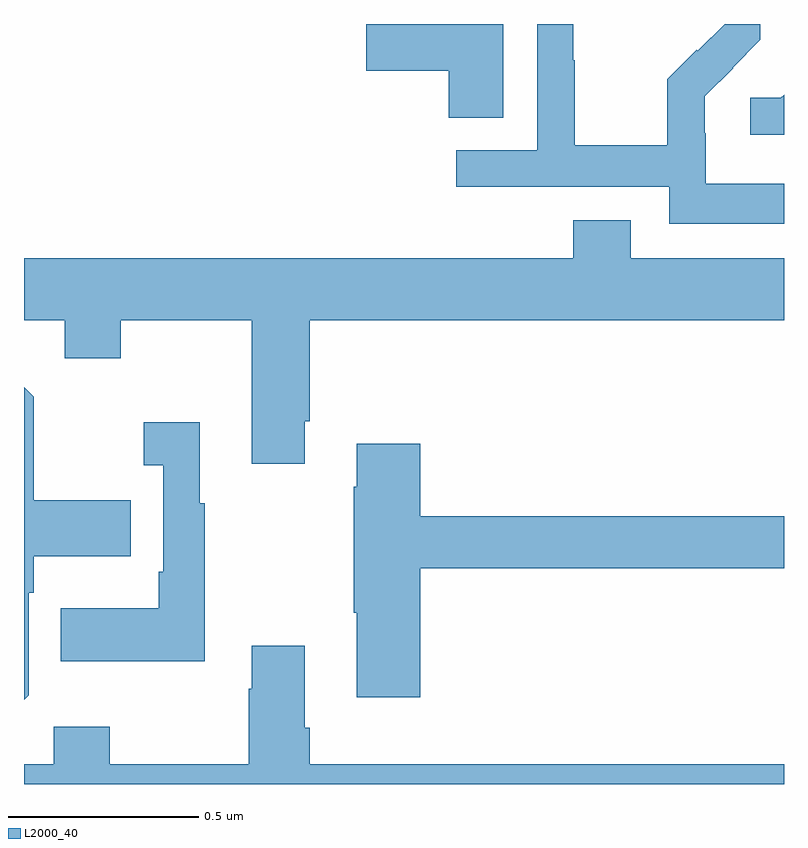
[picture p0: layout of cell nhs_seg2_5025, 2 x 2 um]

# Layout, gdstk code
import gdstk
lib = gdstk.Library(unit=1e-6, precision=1e-09)
def P(c, l, *ps):  # polygons
    for p in ps: c.add(gdstk.Polygon(p, *l))
L2000_40 = (2000, 40)

nhs_seg2_5025 = lib.new_cell('nhs_seg2_5025')
P(nhs_seg2_5025, L2000_40, [(176,597.379),(175.794,597.379),(175.794,597.513),(175.792,597.513),(175.792,597.61),(175.866,597.684),(175.865,597.685),(175.938,597.758),(175.938,597.8),(175.844,597.8),(175.773,597.729),(175.77,597.732),(175.693,597.655),(175.693,597.481),(175.449,597.481),(175.449,597.704),(175.446,597.704),(175.446,597.8),(175.35,597.8),(175.35,597.468),(175.137,597.468),(175.137,597.372),(175.698,597.372),(175.698,597.275),(176,597.275)],
  [(175.261,597.8),(174.9,597.8),(174.9,597.677),(175.118,597.677),(175.118,597.553),(175.261,597.553)],
  [(176,597.614),(175.992,597.606),(175.911,597.606),(175.911,597.509),(176,597.509)],
  [(174.739,596.755),(174.752,596.755),(174.752,597.02),(176,597.02),(176,597.184),(175.597,597.184),(175.597,597.283),(175.445,597.283),(175.445,597.184),(174,597.184),(174,597.02),(174.107,597.02),(174.107,596.921),(174.255,596.921),(174.255,597.02),(174.599,597.02),(174.599,596.643),(174.739,596.643)],
  [(174.012,596.034),(174.012,596.303),(174.025,596.303),(174.025,596.399),(174.281,596.399),(174.281,596.547),(174.025,596.547),(174.025,596.819),(174,596.844),(174,596.022)],
  [(174.475,596.539),(174.463,596.539),(174.463,596.752),(174.315,596.752),(174.315,596.639),(174.366,596.639),(174.366,596.359),(174.354,596.359),(174.354,596.263),(174.097,596.263),(174.097,596.123),(174.475,596.123)],
  [(175.043,596.368),(176,596.368),(176,596.504),(175.043,596.504),(175.043,596.695),(174.875,596.695),(174.875,596.582),(174.868,596.582),(174.868,596.251),(174.875,596.251),(174.875,596.028),(175.043,596.028)],
  [(176,595.852),(174.752,595.852),(174.752,595.948),(174.739,595.948),(174.739,596.164),(174.599,596.164),(174.599,596.051),(174.592,596.051),(174.592,595.852),(174.225,595.852),(174.225,595.951),(174.078,595.951),(174.078,595.852),(174,595.852),(174,595.8),(176,595.8)])

lib.write_gds('nhs_seg2_5025.gds')
